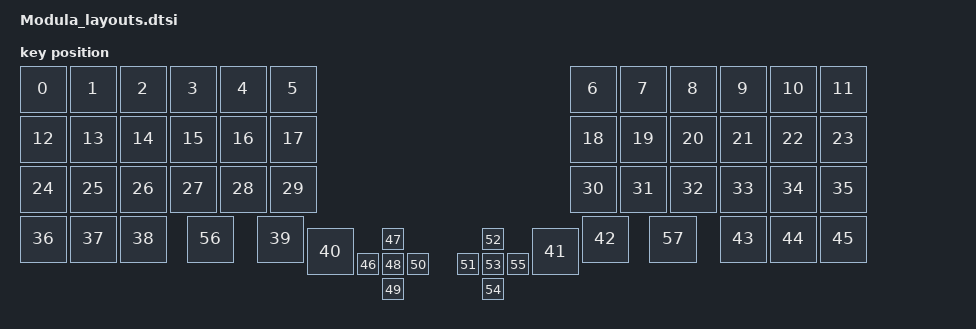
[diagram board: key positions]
#include <physical_layouts.dtsi>

/ {
    layout_Modula: layout_Modula {
    compatible = "zmk,physical-layout";
    display-name = "Default Layout";
    transform = <&default_transform>;
    kscan = <&kscan0>;
    keys  //                     w   h    x    y     rot    rx    ry
      = <&key_physical_attrs 100 100    0    0       0     0     0>
      , <&key_physical_attrs 100 100  100    0       0     0     0>
      , <&key_physical_attrs 100 100  200    0       0     0     0>
      , <&key_physical_attrs 100 100  300    0       0     0     0>
      , <&key_physical_attrs 100 100  400    0       0     0     0>
      , <&key_physical_attrs 100 100  500    0       0     0     0>
      , <&key_physical_attrs 100 100 1100    0       0     0     0>
      , <&key_physical_attrs 100 100 1200    0       0     0     0>
      , <&key_physical_attrs 100 100 1300    0       0     0     0>
      , <&key_physical_attrs 100 100 1400    0       0     0     0>
      , <&key_physical_attrs 100 100 1500    0       0     0     0>
      , <&key_physical_attrs 100 100 1600    0       0     0     0>
      , <&key_physical_attrs 100 100    0  100       0     0     0>
      , <&key_physical_attrs 100 100  100  100       0     0     0>
      , <&key_physical_attrs 100 100  200  100       0     0     0>
      , <&key_physical_attrs 100 100  300  100       0     0     0>
      , <&key_physical_attrs 100 100  400  100       0     0     0>
      , <&key_physical_attrs 100 100  500  100       0     0     0>
      , <&key_physical_attrs 100 100 1100  100       0     0     0>
      , <&key_physical_attrs 100 100 1200  100       0     0     0>
      , <&key_physical_attrs 100 100 1300  100       0     0     0>
      , <&key_physical_attrs 100 100 1400  100       0     0     0>
      , <&key_physical_attrs 100 100 1500  100       0     0     0>
      , <&key_physical_attrs 100 100 1600  100       0     0     0>
      , <&key_physical_attrs 100 100    0  200       0     0     0>
      , <&key_physical_attrs 100 100  100  200       0     0     0>
      , <&key_physical_attrs 100 100  200  200       0     0     0>
      , <&key_physical_attrs 100 100  300  200       0     0     0>
      , <&key_physical_attrs 100 100  400  200       0     0     0>
      , <&key_physical_attrs 100 100  500  200       0     0     0>
      , <&key_physical_attrs 100 100 1100  200       0     0     0>
      , <&key_physical_attrs 100 100 1200  200       0     0     0>
      , <&key_physical_attrs 100 100 1300  200       0     0     0>
      , <&key_physical_attrs 100 100 1400  200       0     0     0>
      , <&key_physical_attrs 100 100 1500  200       0     0     0>
      , <&key_physical_attrs 100 100 1600  200       0     0     0>
      , <&key_physical_attrs 100 100    0  300       0     0     0>
      , <&key_physical_attrs 100 100  100  300       0     0     0>
      , <&key_physical_attrs 100 100  200  300       0     0     0>
      , <&key_physical_attrs 100 100  475  300       0     0     0>
      , <&key_physical_attrs 100 100  575  325       0     0     0>
      , <&key_physical_attrs 100 100 1025  325       0     0     0>
      , <&key_physical_attrs 100 100 1125  300       0     0     0>
      , <&key_physical_attrs 100 100 1400  300       0     0     0>
      , <&key_physical_attrs 100 100 1500  300       0     0     0>
      , <&key_physical_attrs 100 100 1600  300       0     0     0>
      , <&key_physical_attrs  50  50  675  375       0     0     0>
      , <&key_physical_attrs  50  50  725  325       0     0     0>
      , <&key_physical_attrs  50  50  725  375       0     0     0>
      , <&key_physical_attrs  50  50  725  425       0     0     0>
      , <&key_physical_attrs  50  50  775  375       0     0     0>
      , <&key_physical_attrs  50  50  875  375       0     0     0>
      , <&key_physical_attrs  50  50  925  325       0     0     0>
      , <&key_physical_attrs  50  50  925  375       0     0     0>
      , <&key_physical_attrs  50  50  925  425       0     0     0>
      , <&key_physical_attrs  50  50  975  375       0     0     0>
      , <&key_physical_attrs 100 100  335  300       0     0     0>
      , <&key_physical_attrs 100 100 1260  300       0     0     0>
      ;
  };
};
